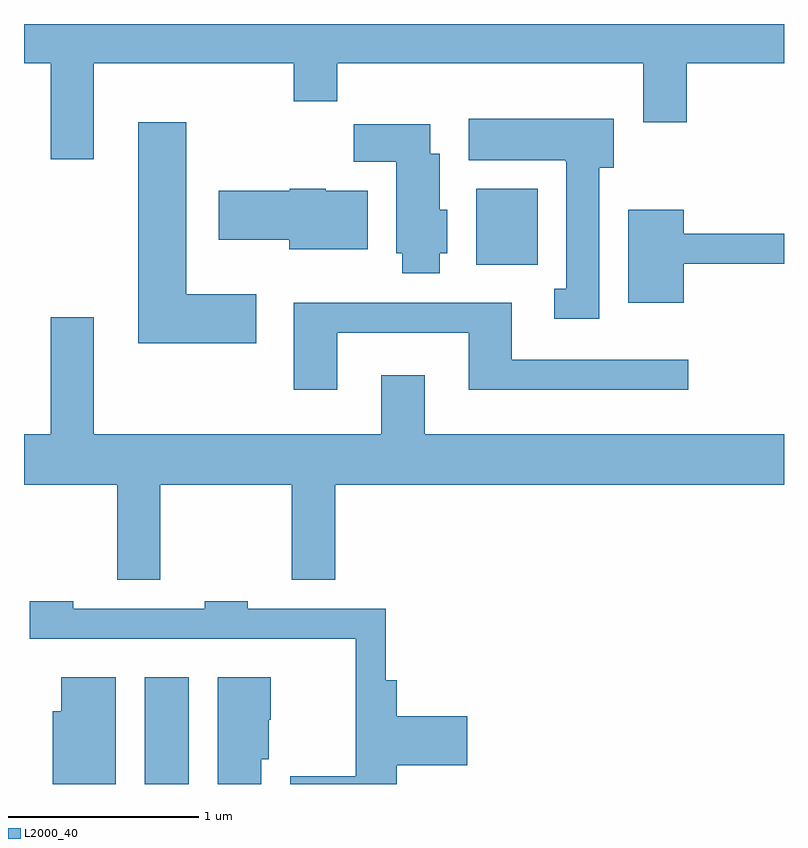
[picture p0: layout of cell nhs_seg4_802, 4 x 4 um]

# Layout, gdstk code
import gdstk
lib = gdstk.Library(unit=1e-6, precision=1e-09)
def R(c, l, rs):  # rectangles x0, y0, x1, y1
    for r in rs: c.add(gdstk.rectangle(r[:2], r[2:], *l))
def P(c, l, *ps):  # polygons
    for p in ps: c.add(gdstk.Polygon(p, *l))
L2000_40 = (2000, 40)

nhs_seg4_802 = lib.new_cell('nhs_seg4_802')
R(nhs_seg4_802, L2000_40, [(208.246,1361.982,208.479,1362.544), (209.991,1364.716,210.314,1365.114)])
P(nhs_seg4_802, L2000_40, [(207.979,1365.776),(209.031,1365.776),(209.031,1365.576),(209.259,1365.576),(209.259,1365.776),(210.871,1365.776),(210.871,1365.466),(211.099,1365.466),(211.099,1365.776),(211.611,1365.776),(211.611,1365.982),(207.611,1365.982),(207.611,1365.776),(207.751,1365.776),(207.751,1365.271),(207.979,1365.271)],
  [(210.639,1365.226),(210.714,1365.226),(210.714,1365.484),(209.951,1365.484),(209.951,1365.266),(210.46,1365.266),(210.46,1365.26),(210.466,1365.26),(210.466,1364.589),(210.403,1364.589),(210.403,1364.431),(210.639,1364.431)],
  [(208.834,1364.559),(208.464,1364.559),(208.464,1365.464),(208.211,1365.464),(208.211,1364.301),(208.834,1364.301)],
  [(209.799,1364.776),(209.839,1364.776),(209.839,1365.004),(209.799,1365.004),(209.799,1365.299),(209.749,1365.299),(209.749,1365.454),(209.346,1365.454),(209.346,1365.256),(209.571,1365.256),(209.571,1364.776),(209.601,1364.776),(209.601,1364.671),(209.799,1364.671)],
  [(209.419,1365.104),(209.2,1365.104),(209.2,1365.114),(209.01,1365.114),(209.01,1365.104),(208.636,1365.104),(208.636,1364.846),(209.006,1364.846),(209.006,1364.796),(209.419,1364.796)],
  [(211.084,1364.721),(211.611,1364.721),(211.611,1364.879),(211.084,1364.879),(211.084,1365.004),(210.791,1365.004),(210.791,1364.516),(211.084,1364.516)],
  [(209.259,1364.356),(209.951,1364.356),(209.951,1364.056),(211.108,1364.056),(211.108,1364.214),(210.179,1364.214),(210.179,1364.514),(209.031,1364.514),(209.031,1364.056),(209.259,1364.056)],
  [(208.329,1363.556),(209.021,1363.556),(209.021,1363.056),(209.249,1363.056),(209.249,1363.556),(211.611,1363.556),(211.611,1363.824),(209.719,1363.824),(209.719,1364.134),(209.491,1364.134),(209.491,1363.824),(207.979,1363.824),(207.979,1364.439),(207.751,1364.439),(207.751,1363.824),(207.611,1363.824),(207.611,1363.556),(208.101,1363.556),(208.101,1363.056),(208.329,1363.056)],
  [(209.574,1362.081),(209.944,1362.081),(209.944,1362.339),(209.574,1362.339),(209.574,1362.529),(209.514,1362.529),(209.514,1362.904),(208.789,1362.904),(208.789,1362.944),(208.561,1362.944),(208.561,1362.904),(207.869,1362.904),(207.869,1362.944),(207.641,1362.944),(207.641,1362.746),(209.356,1362.746),(209.356,1362.024),(209.013,1362.024),(209.013,1361.982),(209.574,1361.982)],
  [(208.094,1362.544),(207.806,1362.544),(207.806,1362.364),(207.761,1362.364),(207.761,1361.982),(208.094,1361.982)],
  [(208.859,1362.111),(208.899,1362.111),(208.899,1362.32),(208.909,1362.32),(208.909,1362.544),(208.631,1362.544),(208.631,1361.982),(208.859,1361.982)])

lib.write_gds('nhs_seg4_802.gds')
